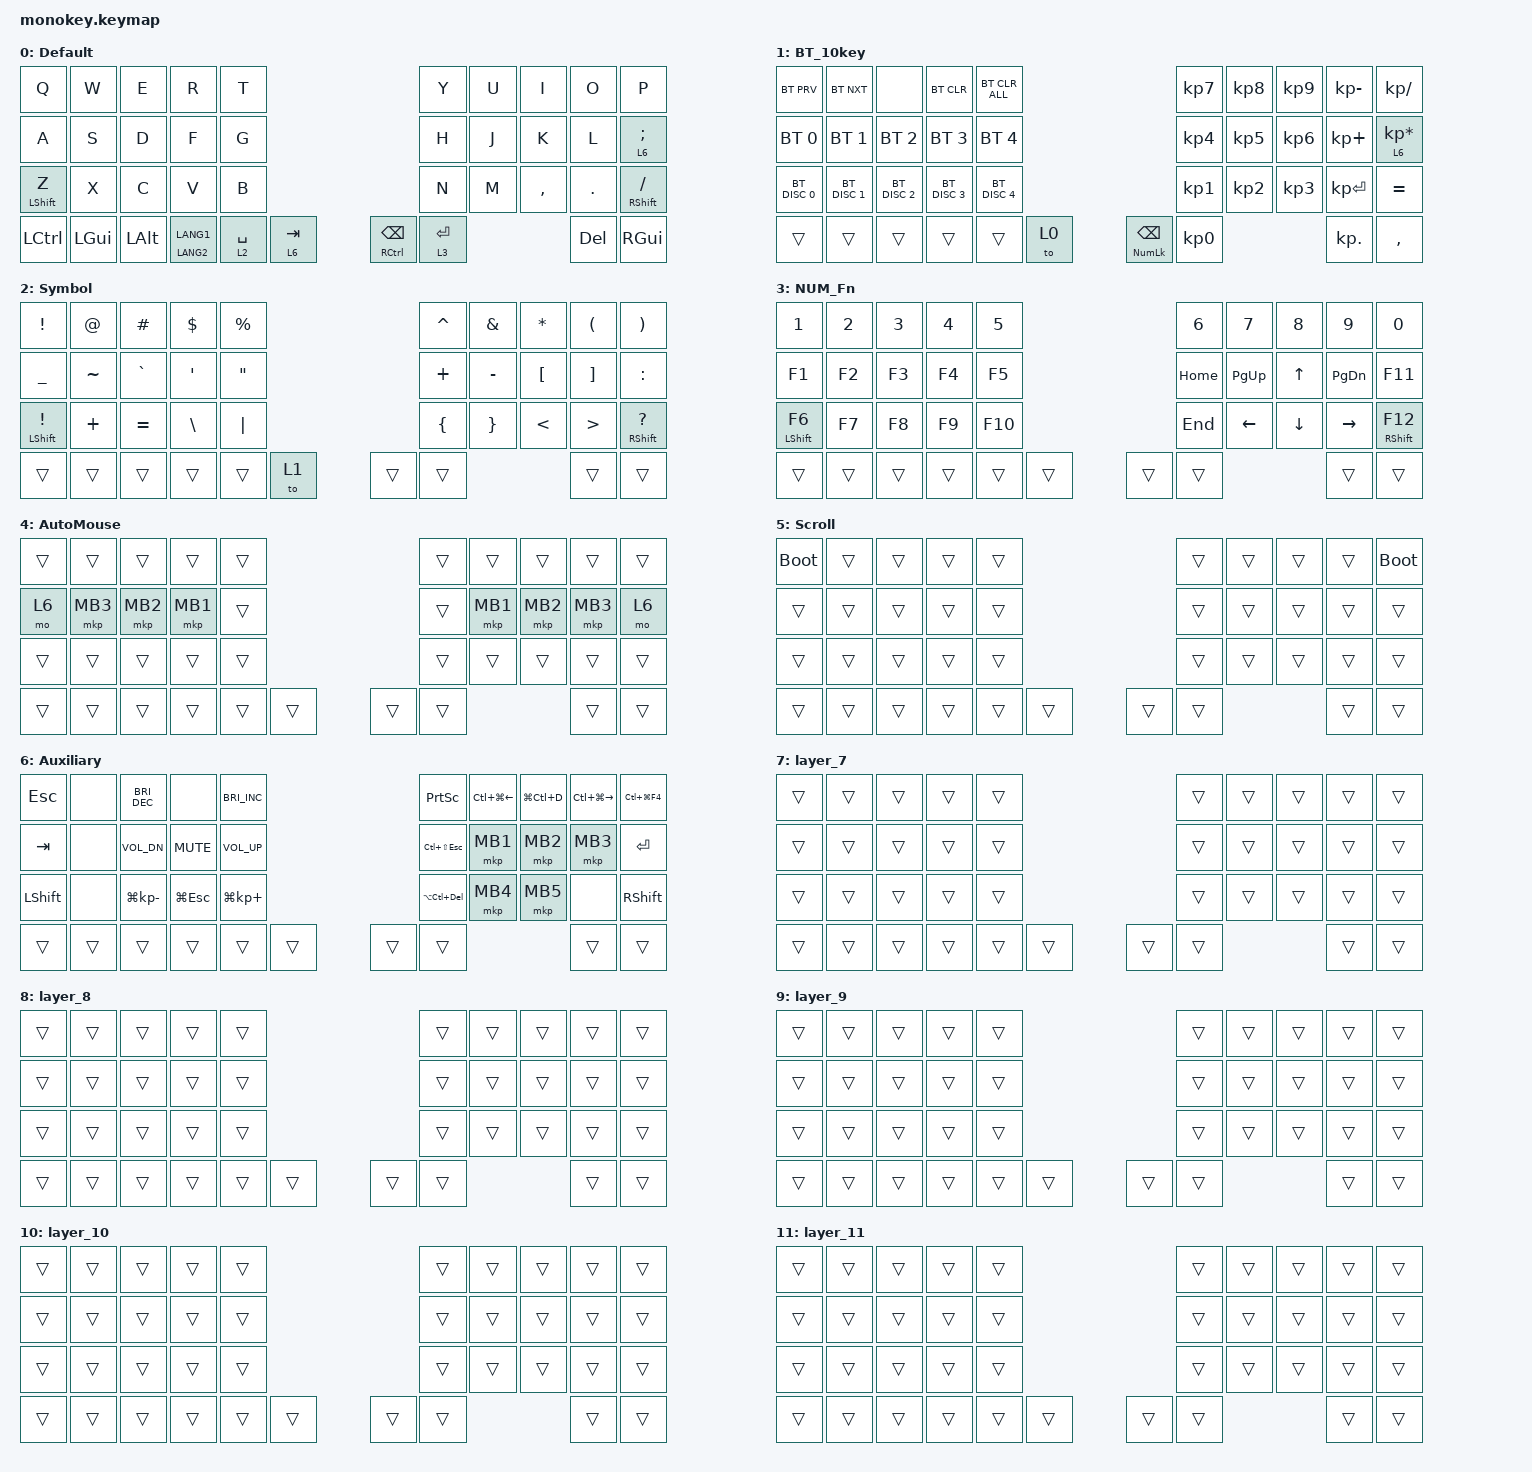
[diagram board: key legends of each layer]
#include <behaviors.dtsi>
#include <dt-bindings/zmk/bt.h>
#include <dt-bindings/zmk/keys.h>
#include <dt-bindings/zmk/pointing.h>

&mt {
    flavor = "balanced";
    quick-tap-ms = <300>;
};

&lt { quick-tap-ms = <300>; };

/ {
    combos {
        compatible = "zmk,combos";

        scroll {
            bindings = <&mo 5>;
            key-positions = <17 18>;
        };

        esc {
            bindings = <&kp ESCAPE>;
            key-positions = <0 1>;
        };

        tab {
            bindings = <&kp TAB>;
            key-positions = <10 11>;
        };

        s+tab {
            bindings = <&kp LS(TAB)>;
            key-positions = <20 21>;
        };

        bs {
            bindings = <&kp BACKSPACE>;
            key-positions = <8 9>;
        };

        del {
            bindings = <&kp DEL>;
            key-positions = <8 7>;
        };

        enter {
            bindings = <&kp ENTER>;
            key-positions = <18 19>;
        };

        lang2 {
            bindings = <&kp LANGUAGE_2>;
            key-positions = <12 13>;
        };

        lang1 {
            bindings = <&kp LANGUAGE_1>;
            key-positions = <17 16>;
        };
    };

    keymap {
        compatible = "zmk,keymap";

        Default {
            bindings = <
&kp Q             &kp W         &kp E         &kp R            &kp T                                        &kp Y        &kp U  &kp I      &kp O       &kp P
&kp A             &kp S         &kp D         &kp F            &kp G                                        &kp H        &kp J  &kp K      &kp L       &lt 6 SEMICOLON
&mt LEFT_SHIFT Z  &kp X         &kp C         &kp V            &kp B                                        &kp N        &kp M  &kp COMMA  &kp PERIOD  &mt RIGHT_SHIFT SLASH
&kp LEFT_CONTROL  &kp LEFT_GUI  &kp LEFT_ALT  &mt LANG2 LANG1  &lt 2 SPACE  &lt 6 TAB  &mt RCTRL BACKSPACE  &lt 3 ENTER                    &kp DELETE  &kp RGUI
            >;
        };

        BT_10key {
            bindings = <
&bt BT_PRV     &bt BT_NXT     &none          &bt BT_CLR     &bt BT_CLR_ALL                                   &kp KP_NUMBER_7  &kp KP_NUMBER_8  &kp KP_NUMBER_9  &kp KP_MINUS  &kp KP_SLASH
&bt BT_SEL 0   &bt BT_SEL 1   &bt BT_SEL 2   &bt BT_SEL 3   &bt BT_SEL 4                                     &kp KP_NUMBER_4  &kp KP_NUMBER_5  &kp KP_NUMBER_6  &kp KP_PLUS   &lt 6 KP_ASTERISK
&bt BT_DISC 0  &bt BT_DISC 1  &bt BT_DISC 2  &bt BT_DISC 3  &bt BT_DISC 4                                    &kp KP_NUMBER_1  &kp KP_NUMBER_2  &kp KP_NUMBER_3  &kp KP_ENTER  &kp EQUAL
&trans         &trans         &trans         &trans         &trans          &to 0  &mt KP_NUMLOCK BACKSPACE  &kp KP_NUMBER_0                                    &kp KP_DOT    &kp COMMA
            >;
        };

        Symbol {
            bindings = <
&kp EXCL               &kp AT     &kp HASH   &kp DLLR       &kp PRCNT                 &kp CARET  &kp AMPS   &kp STAR  &kp LPAR  &kp RPAR
&kp UNDER              &kp TILDE  &kp GRAVE  &kp SQT        &kp DQT                   &kp PLUS   &kp MINUS  &kp LBKT  &kp RBKT  &kp COLON
&mt LSHFT EXCLAMATION  &kp PLUS   &kp EQUAL  &kp BACKSLASH  &kp PIPE                  &kp LBRC   &kp RBRC   &kp LT    &kp GT    &mt RSHFT QMARK
&trans                 &trans     &trans     &trans         &trans     &to 1  &trans  &trans                          &trans    &trans
            >;
        };

        NUM_Fn {
            bindings = <
&kp NUMBER_1  &kp NUMBER_2  &kp NUMBER_3  &kp NUMBER_4  &kp NUMBER_5                  &kp NUMBER_6  &kp NUMBER_7  &kp NUMBER_8  &kp NUMBER_9   &kp NUMBER_0
&kp F1        &kp F2        &kp F3        &kp F4        &kp F5                        &kp HOME      &kp PAGE_UP   &kp UP        &kp PAGE_DOWN  &kp F11
&mt LSHFT F6  &kp F7        &kp F8        &kp F9        &kp F10                       &kp END       &kp LEFT      &kp DOWN      &kp RIGHT      &mt RSHFT F12
&trans        &trans        &trans        &trans        &trans        &trans  &trans  &trans                                    &trans         &trans
            >;
        };

        AutoMouse {
            bindings = <
&trans  &trans    &trans    &trans    &trans                  &trans  &trans    &trans    &trans    &trans
&mo 6   &mkp MB3  &mkp MB2  &mkp MB1  &trans                  &trans  &mkp MB1  &mkp MB2  &mkp MB3  &mo 6
&trans  &trans    &trans    &trans    &trans                  &trans  &trans    &trans    &trans    &trans
&trans  &trans    &trans    &trans    &trans  &trans  &trans  &trans                      &trans    &trans
            >;
        };

        Scroll {
            bindings = <
&bootloader  &trans  &trans  &trans  &trans                  &trans  &trans  &trans  &trans  &bootloader
&trans       &trans  &trans  &trans  &trans                  &trans  &trans  &trans  &trans  &trans
&trans       &trans  &trans  &trans  &trans                  &trans  &trans  &trans  &trans  &trans
&trans       &trans  &trans  &trans  &trans  &trans  &trans  &trans                  &trans  &trans
            >;
        };

        Auxiliary {
            bindings = <
&kp ESC    &none   &kp C_BRI_DEC     &none           &kp C_BRI_INC                    &kp PRINTSCREEN     &kp LC(LG(LEFT_ARROW))  &kp LG(LC(D))  &kp LC(LG(RIGHT))  &kp LC(LG(F4))
&kp TAB    &none   &kp C_VOL_DN      &kp C_MUTE      &kp C_VOL_UP                     &kp LC(LS(ESCAPE))  &mkp MB1                &mkp MB2       &mkp MB3           &kp ENTER
&kp LSHFT  &none   &kp LG(KP_MINUS)  &kp LG(ESCAPE)  &kp LG(KP_PLUS)                  &kp LA(LC(DELETE))  &mkp MB4                &mkp MB5       &none              &kp RSHIFT
&trans     &trans  &trans            &trans          &trans           &trans  &trans  &trans                                                     &trans             &trans
            >;
        };

        layer_7 {
            bindings = <
&trans  &trans  &trans  &trans  &trans                  &trans  &trans  &trans  &trans  &trans
&trans  &trans  &trans  &trans  &trans                  &trans  &trans  &trans  &trans  &trans
&trans  &trans  &trans  &trans  &trans                  &trans  &trans  &trans  &trans  &trans
&trans  &trans  &trans  &trans  &trans  &trans  &trans  &trans                  &trans  &trans
            >;
        };

        layer_8 {
            bindings = <
&trans  &trans  &trans  &trans  &trans                  &trans  &trans  &trans  &trans  &trans
&trans  &trans  &trans  &trans  &trans                  &trans  &trans  &trans  &trans  &trans
&trans  &trans  &trans  &trans  &trans                  &trans  &trans  &trans  &trans  &trans
&trans  &trans  &trans  &trans  &trans  &trans  &trans  &trans                  &trans  &trans
            >;
        };

        layer_9 {
            bindings = <
&trans  &trans  &trans  &trans  &trans                  &trans  &trans  &trans  &trans  &trans
&trans  &trans  &trans  &trans  &trans                  &trans  &trans  &trans  &trans  &trans
&trans  &trans  &trans  &trans  &trans                  &trans  &trans  &trans  &trans  &trans
&trans  &trans  &trans  &trans  &trans  &trans  &trans  &trans                  &trans  &trans
            >;
        };

        layer_10 {
            bindings = <
&trans  &trans  &trans  &trans  &trans                  &trans  &trans  &trans  &trans  &trans
&trans  &trans  &trans  &trans  &trans                  &trans  &trans  &trans  &trans  &trans
&trans  &trans  &trans  &trans  &trans                  &trans  &trans  &trans  &trans  &trans
&trans  &trans  &trans  &trans  &trans  &trans  &trans  &trans                  &trans  &trans
            >;
        };

        layer_11 {
            bindings = <
&trans  &trans  &trans  &trans  &trans                  &trans  &trans  &trans  &trans  &trans
&trans  &trans  &trans  &trans  &trans                  &trans  &trans  &trans  &trans  &trans
&trans  &trans  &trans  &trans  &trans                  &trans  &trans  &trans  &trans  &trans
&trans  &trans  &trans  &trans  &trans  &trans  &trans  &trans                  &trans  &trans
            >;
        };
    };
};
